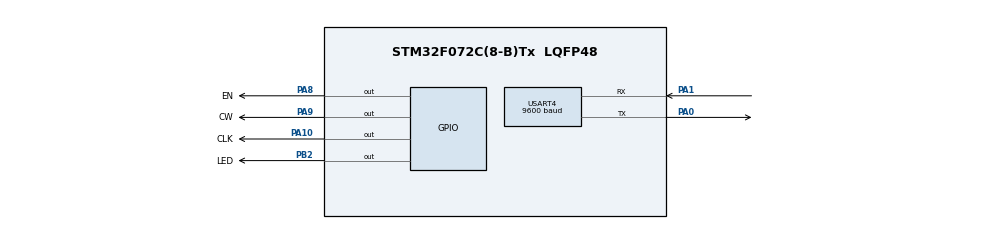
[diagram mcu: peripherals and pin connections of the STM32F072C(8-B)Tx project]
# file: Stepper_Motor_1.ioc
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Mcu.Family=STM32F0
PA9.GPIO_Label=CW
USART4.Parity=PARITY_EVEN
ProjectManager.StackSize=0x400
PA8.GPIO_Label=EN
ProjectManager.TargetToolchain=STM32CubeIDE
NVIC.USART3_4_IRQn=true\:0\:0\:false\:false\:true\:true\:true
PA9.Signal=GPIO_Output
PA1.Signal=USART4_RX
PF0-OSC_IN.Mode=HSE-External-Oscillator
USART4.VirtualMode-Asynchronous=VM_ASYNC
PB2.Signal=GPIO_Output
board=custom
USART4.BaudRate=9600
PA1.Mode=Asynchronous
PA10.GPIO_Label=CLK
PA0.Mode=Asynchronous
PA8.Signal=GPIO_Output
Mcu.Name=STM32F072C(8-B)Tx
PA0.Signal=USART4_TX
Mcu.Package=LQFP48
PA10.Signal=GPIO_Output
PB2.GPIO_Label=LED
ProjectManager.HeapSize=0x200
USART4.WordLength=WORDLENGTH_9B
PF0-OSC_IN.Signal=RCC_OSC_IN
PF1-OSC_OUT.Mode=HSE-External-Oscillator
PF1-OSC_OUT.Signal=RCC_OSC_OUT

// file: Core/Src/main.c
/* USER CODE BEGIN Header */
/**
  ******************************************************************************
  * @file           : main.c
  * @brief          : Main program body
  ******************************************************************************
  * @attention
  *
  * <h2><center>&copy; Copyright (c) 2021 STMicroelectronics.
  * All rights reserved.</center></h2>
  *
  * This software component is licensed by ST under BSD 3-Clause license,
  * the "License"; You may not use this file except in compliance with the
  * License. You may obtain a copy of the License at:
  *                        opensource.org/licenses/BSD-3-Clause
  *
  ******************************************************************************
  */
/* USER CODE END Header */
#include "main.h"

UART_HandleTypeDef huart4;

/* USER CODE BEGIN PV */
uint8_t RxData[2];/*Массив данных (2 элемент), которые будем считывать с ПК*/
/* USER CODE END PV */

void SystemClock_Config(void);
static void MX_GPIO_Init(void);
static void MX_USART4_UART_Init(void);

/* USER CODE BEGIN 0 */
void Stepper_motor(uint8_t Direction, uint8_t Steps)/*Функция управления шаговым двигателем. В функции 2 аргумента:
1 -- определяет направление вращения, 2 -- определяет количество шагов.*/
{
	HAL_GPIO_WritePin(GPIOA, EN_Pin, GPIO_PIN_RESET);/*Разрешаем работу двигателя*/
	switch (Direction) {/*Если переменная, определяющая направление вращения,*/
	case 1:/*равна 1, то*/
		HAL_GPIO_WritePin(GPIOA, CW_Pin, GPIO_PIN_SET);/*включаем пин, отвечающий за направление вращения.*/
		break;
	default:/*Если любое другое значение, то*/
		HAL_GPIO_WritePin(GPIOA, CW_Pin, GPIO_PIN_RESET);/*отключаем пин, отвечающий за направление вращения.*/
		break;
	}
	for (int i = 0; i <= 2*Steps-1; ++i)/*Начнём перебирать переменную i, прибавляя каждый раз к ней и каждую итерацию*/
	{
		HAL_GPIO_TogglePin(GPIOA, CLK_Pin);/*меняем состояние пина, отвечающего за вращение двигателя.*/
		HAL_Delay(10);/*Организация временной задержки в 10 миллисекунд.*/
	}
	HAL_GPIO_WritePin(GPIOA, CLK_Pin, GPIO_PIN_RESET);/*Отключаем пин, отвечающий за вращение двигателя.*/
	HAL_GPIO_WritePin(GPIOA, EN_Pin, GPIO_PIN_SET);/*Запрещаем работу двигателя*/
}
/* USER CODE END 0 */

int main(void)
{

  /* MCU Configuration--------------------------------------------------------*/

  /* Reset of all peripherals, Initializes the Flash interface and the Systick. */
  HAL_Init();

  /* Configure the system clock */
  SystemClock_Config();

  /* Initialize all configured peripherals */
  MX_GPIO_Init();
  MX_USART4_UART_Init();
  /* USER CODE BEGIN 2 */
  HAL_GPIO_WritePin(GPIOA, EN_Pin, GPIO_PIN_SET);/*Запрещаем работу двигателя*/
  /* USER CODE END 2 */

  /* Infinite loop */
  /* USER CODE BEGIN WHILE */
  while (1)
  {

	  if ((HAL_UART_Receive_IT (&huart4, RxData, sizeof(RxData))==HAL_OK))/*Если
	данные с компьютера на контроллер были успешно переданы, то*/
	  {
		  HAL_GPIO_TogglePin(LED_GPIO_Port, LED_Pin);/*Поменяем состояние светодиода*/
	  }
	  Stepper_motor(RxData[0], RxData[1]);/*Передадим в функцию управления шаговым двигателем*/
	  RxData[1]=0;/*Обнулим элемент массива, отвечающего за количество шагов.*/
	  HAL_Delay(10);/*Организация временной задержки в 10 миллисекунд.*/

    /* USER CODE END WHILE */

  }
}

void SystemClock_Config(void)
{
  RCC_OscInitTypeDef RCC_OscInitStruct = {0};
  RCC_ClkInitTypeDef RCC_ClkInitStruct = {0};

  /** Initializes the RCC Oscillators according to the specified parameters
  * in the RCC_OscInitTypeDef structure.
  */
  RCC_OscInitStruct.OscillatorType = RCC_OSCILLATORTYPE_HSI;
  RCC_OscInitStruct.HSIState = RCC_HSI_ON;
  RCC_OscInitStruct.HSICalibrationValue = RCC_HSICALIBRATION_DEFAULT;
  RCC_OscInitStruct.PLL.PLLState = RCC_PLL_NONE;
  if (HAL_RCC_OscConfig(&RCC_OscInitStruct) != HAL_OK)
  {
    Error_Handler();
  }
  /** Initializes the CPU, AHB and APB buses clocks
  */
  RCC_ClkInitStruct.ClockType = RCC_CLOCKTYPE_HCLK|RCC_CLOCKTYPE_SYSCLK
                              |RCC_CLOCKTYPE_PCLK1;
  RCC_ClkInitStruct.SYSCLKSource = RCC_SYSCLKSOURCE_HSI;
  RCC_ClkInitStruct.AHBCLKDivider = RCC_SYSCLK_DIV1;
  RCC_ClkInitStruct.APB1CLKDivider = RCC_HCLK_DIV1;

  if (HAL_RCC_ClockConfig(&RCC_ClkInitStruct, FLASH_LATENCY_0) != HAL_OK)
  {
    Error_Handler();
  }
}

static void MX_USART4_UART_Init(void)
{

  huart4.Instance = USART4;
  huart4.Init.BaudRate = 9600;
  huart4.Init.WordLength = UART_WORDLENGTH_9B;
  huart4.Init.StopBits = UART_STOPBITS_1;
  huart4.Init.Parity = UART_PARITY_EVEN;
  huart4.Init.Mode = UART_MODE_TX_RX;
  huart4.Init.HwFlowCtl = UART_HWCONTROL_NONE;
  huart4.Init.OverSampling = UART_OVERSAMPLING_16;
  huart4.Init.OneBitSampling = UART_ONE_BIT_SAMPLE_DISABLE;
  huart4.AdvancedInit.AdvFeatureInit = UART_ADVFEATURE_NO_INIT;
  if (HAL_UART_Init(&huart4) != HAL_OK)
  {
    Error_Handler();
  }

}

static void MX_GPIO_Init(void)
{
  GPIO_InitTypeDef GPIO_InitStruct = {0};

  /* GPIO Ports Clock Enable */
  __HAL_RCC_GPIOF_CLK_ENABLE();
  __HAL_RCC_GPIOA_CLK_ENABLE();
  __HAL_RCC_GPIOB_CLK_ENABLE();

  /*Configure GPIO pin Output Level */
  HAL_GPIO_WritePin(LED_GPIO_Port, LED_Pin, GPIO_PIN_RESET);

  /*Configure GPIO pin Output Level */
  HAL_GPIO_WritePin(GPIOA, EN_Pin|CW_Pin|CLK_Pin, GPIO_PIN_RESET);

  /*Configure GPIO pin : LED_Pin */
  GPIO_InitStruct.Pin = LED_Pin;
  GPIO_InitStruct.Mode = GPIO_MODE_OUTPUT_PP;
  GPIO_InitStruct.Pull = GPIO_NOPULL;
  GPIO_InitStruct.Speed = GPIO_SPEED_FREQ_LOW;
  HAL_GPIO_Init(LED_GPIO_Port, &GPIO_InitStruct);

  /*Configure GPIO pins : EN_Pin CW_Pin CLK_Pin */
  GPIO_InitStruct.Pin = EN_Pin|CW_Pin|CLK_Pin;
  GPIO_InitStruct.Mode = GPIO_MODE_OUTPUT_PP;
  GPIO_InitStruct.Pull = GPIO_NOPULL;
  GPIO_InitStruct.Speed = GPIO_SPEED_FREQ_LOW;
  HAL_GPIO_Init(GPIOA, &GPIO_InitStruct);

}

void Error_Handler(void)
{
  __disable_irq();
  while (1)
  {
  }
}

/************************ (C) COPYRIGHT STMicroelectronics *****END OF FILE****/
